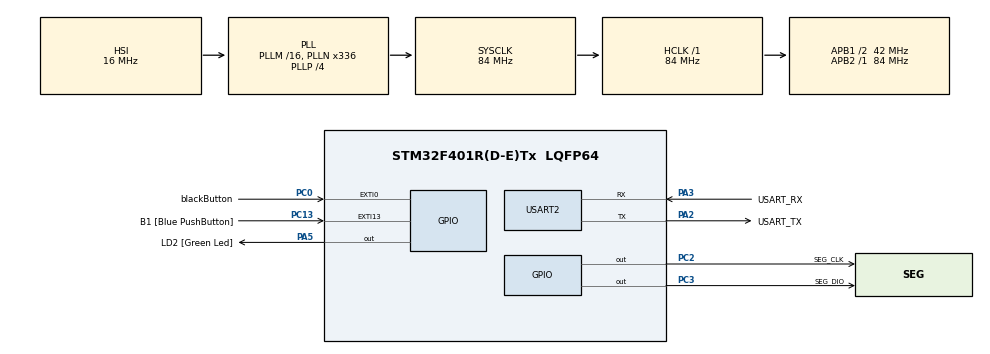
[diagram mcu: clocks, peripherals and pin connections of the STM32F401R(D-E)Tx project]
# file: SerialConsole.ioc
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Mcu.Family=STM32F4
Mcu.Name=STM32F401R(D-E)Tx
Mcu.Package=LQFP64
NVIC.EXTI0_IRQn=true\:0\:0\:false\:false\:true\:true\:true\:true
NVIC.EXTI15_10_IRQn=true\:0\:0\:false\:false\:true\:true\:true\:true
NVIC.PriorityGroup=NVIC_PRIORITYGROUP_0
NVIC.TIM1_UP_TIM10_IRQn=true\:0\:0\:false\:false\:true\:true\:true\:true
PA13.GPIO_Label=TMS
PA13.Mode=Serial_Wire
PA13.Signal=SYS_JTMS-SWDIO
PA14.GPIO_Label=TCK
PA14.Mode=Serial_Wire
PA14.Signal=SYS_JTCK-SWCLK
PA2.GPIO_Label=USART_TX
PA2.GPIO_Mode=GPIO_MODE_AF_PP
PA2.GPIO_PuPd=GPIO_NOPULL
PA2.GPIO_Speed=GPIO_SPEED_FREQ_LOW
PA2.Mode=Asynchronous
PA2.Signal=USART2_TX
PA3.GPIO_Label=USART_RX
PA3.GPIO_Mode=GPIO_MODE_AF_PP
PA3.GPIO_PuPd=GPIO_NOPULL
PA3.GPIO_Speed=GPIO_SPEED_FREQ_LOW
PA3.Mode=Asynchronous
PA3.Signal=USART2_RX
PA5.GPIO_Label=LD2 [Green Led]
PA5.GPIO_Mode=GPIO_MODE_OUTPUT_PP
PA5.GPIO_PuPd=GPIO_NOPULL
PA5.GPIO_Speed=GPIO_SPEED_FREQ_LOW
PA5.Signal=GPIO_Output
PB3.GPIO_Label=SWO
PB3.Signal=SYS_JTDO-SWO
PC0.GPIO_Label=blackButton
PC0.GPIO_ModeDefaultEXTI=GPIO_MODE_IT_FALLING
PC0.Signal=GPXTI0
PC13-ANTI_TAMP.GPIO_Label=B1 [Blue PushButton]
PC13-ANTI_TAMP.GPIO_ModeDefaultEXTI=GPIO_MODE_IT_RISING_FALLING
PC13-ANTI_TAMP.GPIO_PuPd=GPIO_NOPULL
PC13-ANTI_TAMP.Signal=GPXTI13
PC14-OSC32_IN.Mode=LSE-External-Oscillator
PC14-OSC32_IN.Signal=RCC_OSC32_IN
PC15-OSC32_OUT.Mode=LSE-External-Oscillator
PC15-OSC32_OUT.Signal=RCC_OSC32_OUT
PC2.GPIO_Label=SEG_CLK
PC2.Signal=GPIO_Output
PC3.GPIO_Label=SEG_DIO
PC3.GPIO_ModeDefaultOutputPP=GPIO_MODE_OUTPUT_OD
PC3.GPIO_PuPd=GPIO_PULLUP
PC3.Signal=GPIO_Output
PH0\ -\ OSC_IN.Mode=HSE-External-Clock-Source
PH0\ -\ OSC_IN.Signal=RCC_OSC_IN
PH1\ -\ OSC_OUT.Mode=HSE-External-Clock-Source
PH1\ -\ OSC_OUT.Signal=RCC_OSC_OUT
ProjectManager.HeapSize=0x200
ProjectManager.StackSize=0x400
ProjectManager.TargetToolchain=STM32CubeIDE
RCC.48MHZClocksFreq_Value=48000000
RCC.AHBFreq_Value=84000000
RCC.APB1CLKDivider=RCC_HCLK_DIV2
RCC.APB1Freq_Value=42000000
RCC.APB1TimFreq_Value=84000000
RCC.APB2Freq_Value=84000000
RCC.APB2TimFreq_Value=84000000
RCC.CortexFreq_Value=84000000
RCC.HCLKFreq_Value=84000000
RCC.HSE_VALUE=8000000
RCC.HSI_VALUE=16000000
RCC.PLLN=336
RCC.PLLP=RCC_PLLP_DIV4
RCC.PLLQ=7
RCC.SYSCLKFreq_VALUE=84000000
RCC.SYSCLKSource=RCC_SYSCLKSOURCE_PLLCLK
RCC.VCOOutputFreq_Value=336000000
TIM1.AutoReloadPreload=TIM_AUTORELOAD_PRELOAD_ENABLE
TIM1.Period=2624
TIM1.Prescaler=15999
USART2.VirtualMode=VM_ASYNC
VP_TIM1_VS_ClockSourceINT.Mode=Internal
board=NUCLEO-F401RE

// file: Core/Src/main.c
/* USER CODE BEGIN Header */
/**
  ******************************************************************************
  * @file           : main.c
  * @brief          : Main program body
  ******************************************************************************
  * @attention
  *
  * Copyright (c) 2022 STMicroelectronics.
  * All rights reserved.
  *
  * This software is licensed under terms that can be found in the LICENSE file
  * in the root directory of this software component.
  * If no LICENSE file comes with this software, it is provided AS-IS.
  *
  ******************************************************************************
  */
/* USER CODE END Header */
#include "main.h"

/* USER CODE BEGIN Includes */
#include "quad_sseg.h"
#include <stdio.h>

/* USER CODE END Includes */

 TIM_HandleTypeDef htim1;

UART_HandleTypeDef huart2;

void SystemClock_Config(void);
static void MX_GPIO_Init(void);
static void MX_USART2_UART_Init(void);
static void MX_TIM1_Init(void);

/* USER CODE BEGIN 0 */
char uart_str[81] = {'\0'};
uint16_t uart_str_len = 1;

void uart_print_menu()
{
	char menu_str[] = "This is very nice menu, yes?\r\nChoose your destiny:\r\n\r\n\t1. Clock mode.\r\n\t2. Button mode.\r\n\0";
	HAL_UART_Transmit(&huart2, (uint8_t*) menu_str, sizeof(menu_str), HAL_MAX_DELAY);
}

void uart_print_bad_choice()
{
	char menu_str[] = "Your choice went out for a long walk in the harbor and never came back\r\nTry again\r\n\0";
	HAL_UART_Transmit(&huart2, (uint8_t*) menu_str, sizeof(menu_str), HAL_MAX_DELAY);
}

int uart_get_menu_choice()
{
	char str[1] = { '\0' };
	uint16_t str_len = 1;
	HAL_UART_Receive(&huart2, (uint8_t *) str, str_len, HAL_MAX_DELAY);
	int ret = -1;
	sscanf(str, "%d", &ret);
	return ret;
}

int black_button_pressed(){
	return GPIO_PIN_RESET == HAL_GPIO_ReadPin(blackButton_GPIO_Port, blackButton_Pin);
}

uint32_t unbounced = 0;
int unhandled_exti = 0;
uint32_t wait_untill = 0;
void button_mode(){
	uint16_t button_pressed_count = 0;
	qs_put_big_num(button_pressed_count);

	while (1) {
		if (unhandled_exti && wait_untill <= HAL_GetTick()) {
			unhandled_exti = 0;
			if(black_button_pressed()){
				button_pressed_count++;
				qs_put_big_num(button_pressed_count);
			}
		}
		if(blueButtonPressed()){
			qs_put_big_num(unbounced);
		}else{
			qs_put_big_num(button_pressed_count);
		}
	}
}

uint32_t clock_count[4] = {23, 59, 45, 0};
uint32_t clock_period[4] = {24, 60, 60, 2};

void clock_advance(uint32_t half_seconds){
	clock_count[3] += half_seconds;

	clock_count[2] += clock_count[3] / clock_period[3];
	clock_count[3] = clock_count[3] % clock_period[3];

	clock_count[1] += clock_count[2] / clock_period[2];
	clock_count[2] = clock_count[2] % clock_period[2];

	clock_count[0] += clock_count[1] / clock_period[1];
	clock_count[1] = clock_count[1] % clock_period[1];

	clock_count[0] = clock_count[0] % clock_period[0];

}

void clock_render_short(){
	qs_put_digits(clock_count[1]/10, clock_count[1]%10, clock_count[2]/10, clock_count[2]%10, clock_count[3]);
}

void clock_render_long(){
	qs_put_digits(clock_count[0]/10, clock_count[0]%10, clock_count[1]/10, clock_count[1]%10, clock_count[3]);
}

int blueButtonPressed(){
	return 0 == (B1_GPIO_Port->IDR & B1_Pin);
}

int unhandled_clock = 1;

void clock_mode(){
	HAL_TIM_Base_Start_IT(&htim1);
	while(1){
		if (unhandled_clock) {
			if(blueButtonPressed()){
				clock_render_long();
				unhandled_clock = 0;
			}else{
				clock_render_short();
				unhandled_clock = 0;
			}
		}
	}
}

void HAL_GPIO_EXTI_Callback(uint16_t GPIO_Pin)
{
	const uint32_t longest_bounce_MS = 16;
	if(GPIO_Pin == blackButton_Pin){
		unhandled_exti = 1;
		wait_untill = HAL_GetTick() + longest_bounce_MS;
		unbounced++;
	}
	if(GPIO_Pin == B1_Pin){
		unhandled_clock = 1;
	}
}

void HAL_TIM_PeriodElapsedCallback(TIM_HandleTypeDef *htim){
	if(htim != &htim1)return;
	clock_advance(1);
	unhandled_clock = 1;
}

/* USER CODE END 0 */

int main(void)
{

  /* MCU Configuration--------------------------------------------------------*/

  /* Reset of all peripherals, Initializes the Flash interface and the Systick. */
  HAL_Init();

  /* Configure the system clock */
  SystemClock_Config();

  /* Initialize all configured peripherals */
  MX_GPIO_Init();
  MX_USART2_UART_Init();
  MX_TIM1_Init();

  /* Infinite loop */
  /* USER CODE BEGIN WHILE */
  while (1)
  {
	  /*/
	  for (int i = 0; i <= 0xf; i++)
	  {
		  uint32_t dly = 69;
		  //qs_put_big_num(i); HAL_Delay(dly);
		  qs_put_digits(i, i, i, i, 0); HAL_Delay(dly);
		  qs_put_digits(i, i, i, i, 1); HAL_Delay(dly);
	  }//*/
	  qs_put_digits(18, 18, 18, 18, 1);
	  uart_print_menu();
	  int menu_choice = uart_get_menu_choice();
	  {
		  switch (menu_choice)
		  {
		  case 1: clock_mode(); break;
		  case 2: button_mode(); break;
		  default: uart_print_bad_choice(); break;
		  }
	  }

    /* USER CODE END WHILE */

  }
}

void SystemClock_Config(void)
{
  RCC_OscInitTypeDef RCC_OscInitStruct = {0};
  RCC_ClkInitTypeDef RCC_ClkInitStruct = {0};

  /** Configure the main internal regulator output voltage
  */
  __HAL_RCC_PWR_CLK_ENABLE();
  __HAL_PWR_VOLTAGESCALING_CONFIG(PWR_REGULATOR_VOLTAGE_SCALE2);

  /** Initializes the RCC Oscillators according to the specified parameters
  * in the RCC_OscInitTypeDef structure.
  */
  RCC_OscInitStruct.OscillatorType = RCC_OSCILLATORTYPE_HSI;
  RCC_OscInitStruct.HSIState = RCC_HSI_ON;
  RCC_OscInitStruct.HSICalibrationValue = RCC_HSICALIBRATION_DEFAULT;
  RCC_OscInitStruct.PLL.PLLState = RCC_PLL_ON;
  RCC_OscInitStruct.PLL.PLLSource = RCC_PLLSOURCE_HSI;
  RCC_OscInitStruct.PLL.PLLM = 16;
  RCC_OscInitStruct.PLL.PLLN = 336;
  RCC_OscInitStruct.PLL.PLLP = RCC_PLLP_DIV4;
  RCC_OscInitStruct.PLL.PLLQ = 7;
  if (HAL_RCC_OscConfig(&RCC_OscInitStruct) != HAL_OK)
  {
    Error_Handler();
  }

  /** Initializes the CPU, AHB and APB buses clocks
  */
  RCC_ClkInitStruct.ClockType = RCC_CLOCKTYPE_HCLK|RCC_CLOCKTYPE_SYSCLK
                              |RCC_CLOCKTYPE_PCLK1|RCC_CLOCKTYPE_PCLK2;
  RCC_ClkInitStruct.SYSCLKSource = RCC_SYSCLKSOURCE_PLLCLK;
  RCC_ClkInitStruct.AHBCLKDivider = RCC_SYSCLK_DIV1;
  RCC_ClkInitStruct.APB1CLKDivider = RCC_HCLK_DIV2;
  RCC_ClkInitStruct.APB2CLKDivider = RCC_HCLK_DIV1;

  if (HAL_RCC_ClockConfig(&RCC_ClkInitStruct, FLASH_LATENCY_2) != HAL_OK)
  {
    Error_Handler();
  }
}

static void MX_TIM1_Init(void)
{

  TIM_ClockConfigTypeDef sClockSourceConfig = {0};
  TIM_MasterConfigTypeDef sMasterConfig = {0};

  htim1.Instance = TIM1;
  htim1.Init.Prescaler = 15999;
  htim1.Init.CounterMode = TIM_COUNTERMODE_UP;
  htim1.Init.Period = 2624;
  htim1.Init.ClockDivision = TIM_CLOCKDIVISION_DIV1;
  htim1.Init.RepetitionCounter = 0;
  htim1.Init.AutoReloadPreload = TIM_AUTORELOAD_PRELOAD_ENABLE;
  if (HAL_TIM_Base_Init(&htim1) != HAL_OK)
  {
    Error_Handler();
  }
  sClockSourceConfig.ClockSource = TIM_CLOCKSOURCE_INTERNAL;
  if (HAL_TIM_ConfigClockSource(&htim1, &sClockSourceConfig) != HAL_OK)
  {
    Error_Handler();
  }
  sMasterConfig.MasterOutputTrigger = TIM_TRGO_RESET;
  sMasterConfig.MasterSlaveMode = TIM_MASTERSLAVEMODE_DISABLE;
  if (HAL_TIMEx_MasterConfigSynchronization(&htim1, &sMasterConfig) != HAL_OK)
  {
    Error_Handler();
  }

}

static void MX_USART2_UART_Init(void)
{

  huart2.Instance = USART2;
  huart2.Init.BaudRate = 115200;
  huart2.Init.WordLength = UART_WORDLENGTH_8B;
  huart2.Init.StopBits = UART_STOPBITS_1;
  huart2.Init.Parity = UART_PARITY_NONE;
  huart2.Init.Mode = UART_MODE_TX_RX;
  huart2.Init.HwFlowCtl = UART_HWCONTROL_NONE;
  huart2.Init.OverSampling = UART_OVERSAMPLING_16;
  if (HAL_UART_Init(&huart2) != HAL_OK)
  {
    Error_Handler();
  }

}

static void MX_GPIO_Init(void)
{
  GPIO_InitTypeDef GPIO_InitStruct = {0};

  /* GPIO Ports Clock Enable */
  __HAL_RCC_GPIOC_CLK_ENABLE();
  __HAL_RCC_GPIOH_CLK_ENABLE();
  __HAL_RCC_GPIOA_CLK_ENABLE();
  __HAL_RCC_GPIOB_CLK_ENABLE();

  /*Configure GPIO pin Output Level */
  HAL_GPIO_WritePin(GPIOC, SEG_CLK_Pin|SEG_DIO_Pin, GPIO_PIN_RESET);

  /*Configure GPIO pin Output Level */
  HAL_GPIO_WritePin(LD2_GPIO_Port, LD2_Pin, GPIO_PIN_RESET);

  /*Configure GPIO pin : B1_Pin */
  GPIO_InitStruct.Pin = B1_Pin;
  GPIO_InitStruct.Mode = GPIO_MODE_IT_RISING_FALLING;
  GPIO_InitStruct.Pull = GPIO_NOPULL;
  HAL_GPIO_Init(B1_GPIO_Port, &GPIO_InitStruct);

  /*Configure GPIO pin : blackButton_Pin */
  GPIO_InitStruct.Pin = blackButton_Pin;
  GPIO_InitStruct.Mode = GPIO_MODE_IT_FALLING;
  GPIO_InitStruct.Pull = GPIO_NOPULL;
  HAL_GPIO_Init(blackButton_GPIO_Port, &GPIO_InitStruct);

  /*Configure GPIO pin : SEG_CLK_Pin */
  GPIO_InitStruct.Pin = SEG_CLK_Pin;
  GPIO_InitStruct.Mode = GPIO_MODE_OUTPUT_PP;
  GPIO_InitStruct.Pull = GPIO_NOPULL;
  GPIO_InitStruct.Speed = GPIO_SPEED_FREQ_LOW;
  HAL_GPIO_Init(SEG_CLK_GPIO_Port, &GPIO_InitStruct);

  /*Configure GPIO pin : SEG_DIO_Pin */
  GPIO_InitStruct.Pin = SEG_DIO_Pin;
  GPIO_InitStruct.Mode = GPIO_MODE_OUTPUT_OD;
  GPIO_InitStruct.Pull = GPIO_PULLUP;
  GPIO_InitStruct.Speed = GPIO_SPEED_FREQ_LOW;
  HAL_GPIO_Init(SEG_DIO_GPIO_Port, &GPIO_InitStruct);

  /*Configure GPIO pin : LD2_Pin */
  GPIO_InitStruct.Pin = LD2_Pin;
  GPIO_InitStruct.Mode = GPIO_MODE_OUTPUT_PP;
  GPIO_InitStruct.Pull = GPIO_NOPULL;
  GPIO_InitStruct.Speed = GPIO_SPEED_FREQ_LOW;
  HAL_GPIO_Init(LD2_GPIO_Port, &GPIO_InitStruct);

  /* EXTI interrupt init*/
  HAL_NVIC_SetPriority(EXTI0_IRQn, 0, 0);
  HAL_NVIC_EnableIRQ(EXTI0_IRQn);

  HAL_NVIC_SetPriority(EXTI15_10_IRQn, 0, 0);
  HAL_NVIC_EnableIRQ(EXTI15_10_IRQn);

}

void Error_Handler(void)
{
  __disable_irq();
  while (1)
  {
  }
}
